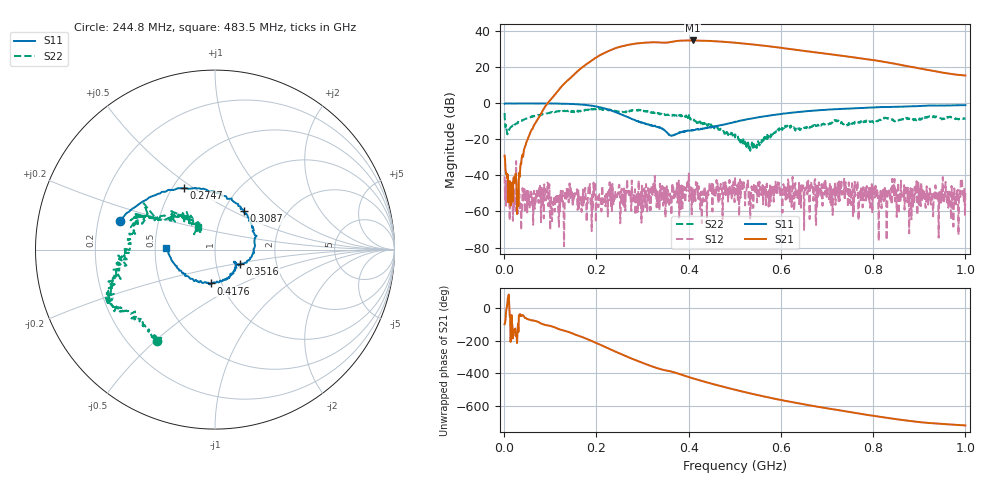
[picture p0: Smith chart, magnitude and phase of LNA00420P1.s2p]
! Created with skrf 1.9.0 (http://scikit-rf.org).
# Hz S RI R 50.0
!freq ReS11 ImS11 ReS21 ImS21 ReS12 ImS12 ReS22 ImS22
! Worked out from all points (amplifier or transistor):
!   1001 points, 1 MHz to 1 GHz, reference 50 ohm
!   highest |S21| = 35.0 dB at 408.6 MHz (marker M1)
!   |S21| within 3 dB of that: 259.6 MHz to 566 MHz (306.4 MHz wide, 74.2 % of centre)
!   unconditionally stable (mu >= 1): 213.1 MHz to 266.7 MHz; 326.9 MHz to 400.3 MHz; 400.8 MHz to end of sweep (the widest 3 of 29)
!   at 166.8 MHz: K = 1.20, MAG = 32.5 dB, |S12| = -51.0 dB
!   at 500.5 MHz: K = 1.19, MAG = 34.6 dB, |S12| = -40.7 dB
!   at 1 GHz: K = 3.36, MAG = 23.8 dB, |S12| = -48.4 dB
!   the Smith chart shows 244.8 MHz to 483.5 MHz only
!   S11 on the Smith chart (normalised r, x): 244.8 MHz: 0.29, +0.13; 274.7 MHz: 0.57, +0.46; 308.7 MHz: 1.23, +0.58; 351.6 MHz: 1.30, -0.22; 417.6 MHz: 0.89, -0.35; 483.5 MHz: 0.57, +0.01
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1000000  0.9744 0.00394  -0.00557 -0.0351  -0.000663 0.00939  0.4205 0.3422
1.08892e8  0.5264 -0.8422  -0.7812 -1.502  0.00223 -0.00152  0.4319 -0.3669
1.67833e8  -0.2214 -0.9016  -9.721 -0.6554  -0.000687 -0.00069  0.0477 -0.6335
2.1079e8  -0.6681 -0.3744  -15.49 16.94  2.29e-05 -0.000997  -0.2042 -0.663
2.26774e8  -0.6644 -0.1089  -10.57 26.7  -0.00203 -0.00156  -0.2647 -0.595
2.44756e8  -0.5318 0.1593  0.7046 35.48  -0.00207 -0.00138  -0.3216 -0.5102
2.74726e8  -0.1722 0.3414  26.64 34.66  -0.00129 -0.00132  -0.5194 -0.3377
3.08692e8  0.1606 0.2167  47.53 12.53  -0.0011 0.0028  -0.5735 -0.1721
3.34666e8  0.2148 0.00331  48.73 -9.171  0.000828 -0.00171  -0.5357 -0.0523
3.51649e8  0.1398 -0.0813  44.87 -18.89  -0.00322 0.00108  -0.473 0.0327
3.75625e8  0.1152 -0.0873  41.38 -35.49  0.000814 0.00156  -0.4327 0.1792
4.08592e8  0.02 -0.183  18.9 -52.8  0.001 0.00471  -0.3036 0.183
4.17583e8  -0.0247 -0.1888  11.79 -54.39  0.00109 0.0041  -0.2482 0.1862
4.46554e8  -0.1637 -0.1455  -10.17 -53.28  0.00231 0.00337  -0.1683 0.1757
4.83517e8  -0.2725 0.0109  -31.79 -39.6  0.0019 0.00261  -0.0949 0.1267
5.005e8  -0.2909 0.1098  -37.82 -30.78  0.00834 0.00401  -0.0673 0.0921
5.4046e8  -0.2328 0.3158  -42.1 -9.505  -0.00052 0.00119  -0.0511 -0.0167
5.88412e8  -0.0441 0.4862  -35.13 10.75  0.00425 -0.00518  -0.1204 -0.0976
6.67333e8  0.324 0.5346  -13.81 22.96  -0.00112 -0.00435  -0.2187 -0.0494
7.53247e8  0.6233 0.3747  3.078 19.11  -0.00206 -0.00217  -0.2753 0.000373
8.34166e8  0.7816 0.1549  9.469 9.66  -0.00367 -0.00109  -0.3885 0.00183
1e9  0.8203 -0.3686  5.971 0.0375  -0.00326 0.00197  -0.2373 0.2964
